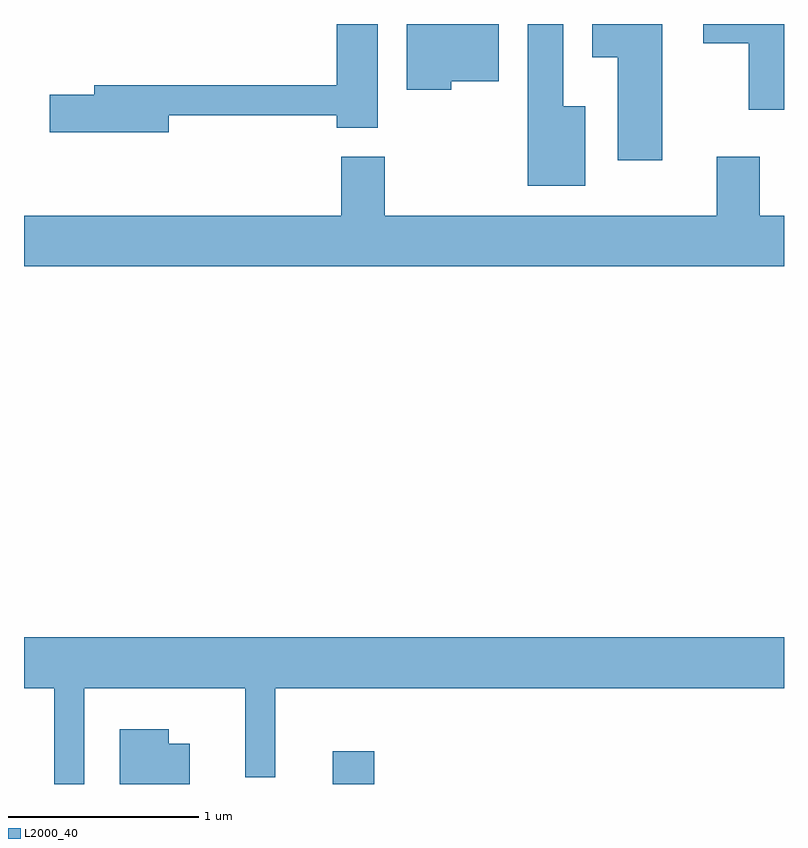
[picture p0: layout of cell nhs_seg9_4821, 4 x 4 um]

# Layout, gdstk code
import gdstk
lib = gdstk.Library(unit=1e-6, precision=1e-09)
def R(c, l, rs):  # rectangles x0, y0, x1, y1
    for r in rs: c.add(gdstk.rectangle(r[:2], r[2:], *l))
def P(c, l, *ps):  # polygons
    for p in ps: c.add(gdstk.Polygon(p, *l))
L2000_40 = (2000, 40)

nhs_seg9_4821 = lib.new_cell('nhs_seg9_4821')
R(nhs_seg9_4821, L2000_40, [(329.236,1982.432,329.454,1982.604)])
P(nhs_seg9_4821, L2000_40, [(329.859,1986.131),(330.109,1986.131),(330.109,1986.432),(329.626,1986.432),(329.626,1986.086),(329.859,1986.086)],
  [(330.564,1985.999),(330.449,1985.999),(330.449,1986.432),(330.261,1986.432),(330.261,1985.581),(330.564,1985.581)],
  [(330.969,1986.432),(330.601,1986.432),(330.601,1986.256),(330.736,1986.256),(330.736,1985.716),(330.969,1985.716)],
  [(331.611,1986.432),(331.186,1986.432),(331.186,1986.331),(331.426,1986.331),(331.426,1985.981),(331.611,1985.981)],
  [(328.374,1985.951),(329.256,1985.951),(329.256,1985.886),(329.474,1985.886),(329.474,1986.432),(329.256,1986.432),(329.256,1986.109),(327.981,1986.109),(327.981,1986.059),(327.746,1986.059),(327.746,1985.861),(328.374,1985.861)],
  [(331.611,1985.424),(331.484,1985.424),(331.484,1985.734),(331.256,1985.734),(331.256,1985.424),(329.509,1985.424),(329.509,1985.734),(329.281,1985.734),(329.281,1985.424),(327.611,1985.424),(327.611,1985.156),(331.611,1985.156)],
  [(327.929,1982.936),(328.776,1982.936),(328.776,1982.468),(328.934,1982.468),(328.934,1982.936),(331.611,1982.936),(331.611,1983.204),(327.611,1983.204),(327.611,1982.936),(327.771,1982.936),(327.771,1982.432),(327.929,1982.432)],
  [(328.484,1982.644),(328.374,1982.644),(328.374,1982.719),(328.116,1982.719),(328.116,1982.432),(328.484,1982.432)])

lib.write_gds('nhs_seg9_4821.gds')
